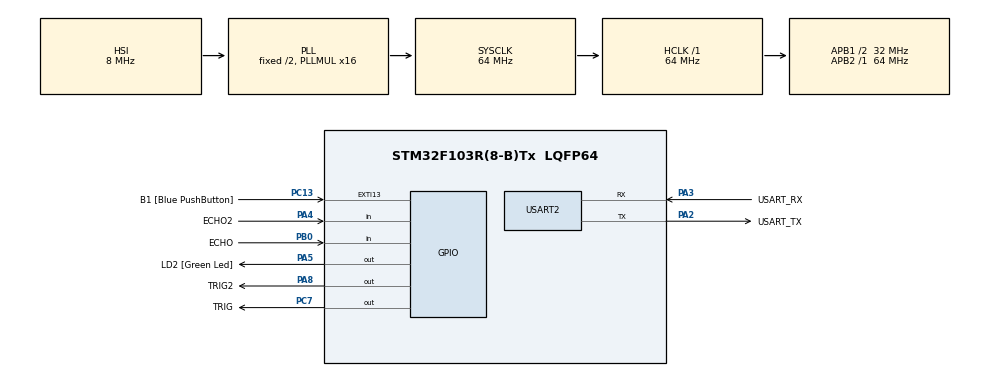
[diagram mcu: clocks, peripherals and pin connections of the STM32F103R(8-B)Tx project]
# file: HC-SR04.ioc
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Mcu.Family=STM32F1
Mcu.Name=STM32F103R(8-B)Tx
Mcu.Package=LQFP64
NVIC.EXTI15_10_IRQn=true\:0\:0\:false\:false\:true\:true\:true\:true
NVIC.PriorityGroup=NVIC_PRIORITYGROUP_4
PA13.GPIO_Label=TMS
PA13.Mode=Serial_Wire
PA13.Signal=SYS_JTMS-SWDIO
PA14.GPIO_Label=TCK
PA14.Mode=Serial_Wire
PA14.Signal=SYS_JTCK-SWCLK
PA2.GPIO_Label=USART_TX
PA2.GPIO_Mode=GPIO_MODE_AF_PP
PA2.GPIO_PuPd=GPIO_NOPULL
PA2.GPIO_Speed=GPIO_SPEED_FREQ_LOW
PA2.Mode=Asynchronous
PA2.Signal=USART2_TX
PA3.GPIO_Label=USART_RX
PA3.GPIO_Mode=GPIO_MODE_AF_PP
PA3.GPIO_PuPd=GPIO_NOPULL
PA3.GPIO_Speed=GPIO_SPEED_FREQ_LOW
PA3.Mode=Asynchronous
PA3.Signal=USART2_RX
PA4.GPIO_Label=ECHO2
PA4.Signal=GPIO_Input
PA5.GPIO_Label=LD2 [Green Led]
PA5.GPIO_ModeDefaultOutputPP=GPIO_MODE_OUTPUT_PP
PA5.GPIO_PuPd=GPIO_NOPULL
PA5.GPIO_Speed=GPIO_SPEED_FREQ_LOW
PA5.Signal=GPIO_Output
PA8.GPIO_Label=TRIG2
PA8.Signal=GPIO_Output
PB0.GPIO_Label=ECHO
PB0.Signal=GPIO_Input
PB3.GPIO_Label=SWO
PB3.Signal=SYS_JTDO-TRACESWO
PC13-TAMPER-RTC.GPIO_Label=B1 [Blue PushButton]
PC13-TAMPER-RTC.GPIO_PuPd=GPIO_NOPULL
PC13-TAMPER-RTC.Signal=GPXTI13
PC14-OSC32_IN.Signal=RCC_OSC32_IN
PC15-OSC32_OUT.Signal=RCC_OSC32_OUT
PC7.GPIO_Label=TRIG
PC7.Signal=GPIO_Output
PD0-OSC_IN.Signal=RCC_OSC_IN
PD1-OSC_OUT.Signal=RCC_OSC_OUT
ProjectManager.HeapSize=0x200
ProjectManager.StackSize=0x400
ProjectManager.TargetToolchain=STM32CubeIDE
RCC.AHBFreq_Value=64000000
RCC.APB1CLKDivider=RCC_HCLK_DIV2
RCC.APB1Freq_Value=32000000
RCC.APB1TimFreq_Value=64000000
RCC.APB2Freq_Value=64000000
RCC.APB2TimFreq_Value=64000000
RCC.HCLKFreq_Value=64000000
RCC.PLLMUL=RCC_PLL_MUL16
RCC.RTCClockSelection=RCC_RTCCLKSOURCE_LSE
RCC.SYSCLKFreq_VALUE=64000000
RCC.SYSCLKSource=RCC_SYSCLKSOURCE_PLLCLK
RCC.USBFreq_Value=64000000
TIM1.Prescaler=64-1
TIM2.Prescaler=64-1
USART2.VirtualMode=VM_ASYNC
VP_TIM1_VS_ClockSourceINT.Mode=Internal
VP_TIM2_VS_ClockSourceINT.Mode=Internal
board=NUCLEO-F103RB

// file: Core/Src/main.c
/* USER CODE BEGIN Header */
/**
  ******************************************************************************
  * @file           : main.c
  * @brief          : Main program body
  ******************************************************************************
  * @attention
  *
  * Copyright (c) 2025 STMicroelectronics.
  * All rights reserved.
  *
  * This software is licensed under terms that can be found in the LICENSE file
  * in the root directory of this software component.
  * If no LICENSE file comes with this software, it is provided AS-IS.
  *
  ******************************************************************************
  */
/* USER CODE END Header */
#include "main.h"

/* USER CODE BEGIN Includes */
#include <stdio.h>
#include <stdlib.h>
/* USER CODE END Includes */

/* USER CODE BEGIN PD */
unsigned int echo_time = 0;
unsigned int echo2_time = 0;
int dist;
int dist2;

/* USER CODE END PD */

TIM_HandleTypeDef htim1;
TIM_HandleTypeDef htim2;

UART_HandleTypeDef huart2;

void SystemClock_Config(void);
static void MX_GPIO_Init(void);
static void MX_USART2_UART_Init(void);
static void MX_TIM1_Init(void);
static void MX_TIM2_Init(void);

/* USER CODE BEGIN 0 */
#ifdef __GNUC__
#define PUTCHAR_PROTOTYPE int __io_putchar(int ch)
#else
#define PUTCHAR_PROTOTYPE int fputc(int ch, FILE *f)
#endif

PUTCHAR_PROTOTYPE
{
	if (ch == '\n')
		HAL_UART_Transmit(&huart2, (uint8_t*) "\r", 1, 0xFFFF);
	HAL_UART_Transmit(&huart2, (uint8_t*) &ch, 1, 0xFFFF);

	return ch;
}

void timer_start(void)
{
	HAL_TIM_Base_Start(&htim1);
}

void delay_us(uint16_t us)
{
	__HAL_TIM_SET_COUNTER(&htim1, 0); // initialize counter to start from 0
	while((__HAL_TIM_GET_COUNTER(&htim1))<us); // wait count until us
}

void trig(void)
{
	HAL_GPIO_WritePin(TRIG_GPIO_Port, TRIG_Pin, 1);
	delay_us(10);
	HAL_GPIO_WritePin(TRIG_GPIO_Port, TRIG_Pin, 0);
}

 /**
  * @brief echo 신호가 HIGH를 유지하는 시간을 (㎲)단위로 측정하여 리턴한다.
  * @param no param(void)
  */

long unsigned int echo(void)
{
	long unsigned int echo = 0;

	while(HAL_GPIO_ReadPin(ECHO_GPIO_Port, ECHO_Pin) == 0){}
		__HAL_TIM_SET_COUNTER(&htim1, 0);
		while(HAL_GPIO_ReadPin(ECHO_GPIO_Port, ECHO_Pin) == 1);
		echo = __HAL_TIM_GET_COUNTER(&htim1);

	if( echo >= 240 && echo <= 23000 ) return echo;
	else return 0;
}

void timer2_start(void)
{
	HAL_TIM_Base_Start(&htim2);
}

void delay2_us(uint16_t us)
{
	__HAL_TIM_SET_COUNTER(&htim2, 0); // initialize counter to start from 0
	while((__HAL_TIM_GET_COUNTER(&htim2))<us); // wait count until us
}

void trig2(void)
{
	HAL_GPIO_WritePin(TRIG2_GPIO_Port, TRIG2_Pin, 1);
	delay2_us(10);
	HAL_GPIO_WritePin(TRIG2_GPIO_Port, TRIG2_Pin, 0);
}

long unsigned int echo2(void)
{
	long unsigned int echo2 = 0;

	while(HAL_GPIO_ReadPin(ECHO2_GPIO_Port, ECHO2_Pin) == 0){}
		__HAL_TIM_SET_COUNTER(&htim2, 0);
		while(HAL_GPIO_ReadPin(ECHO2_GPIO_Port, ECHO2_Pin) == 1);
		echo2 = __HAL_TIM_GET_COUNTER(&htim2);

	if( echo2 >= 240 && echo2 <= 23000 ) return echo2;
	else return 0;
}
/* USER CODE END 0 */

int main(void)
{

  /* MCU Configuration--------------------------------------------------------*/

  /* Reset of all peripherals, Initializes the Flash interface and the Systick. */
  HAL_Init();

  /* Configure the system clock */
  SystemClock_Config();

  /* Initialize all configured peripherals */
  MX_GPIO_Init();
  MX_USART2_UART_Init();
  MX_TIM1_Init();
  MX_TIM2_Init();
  /* USER CODE BEGIN 2 */
  timer_start();
  timer2_start();
  printf("Ranging with HC-SR04\n");

  /* USER CODE END 2 */

  /* Infinite loop */
  /* USER CODE BEGIN WHILE */
  while (1)
  {
	  trig();
	  echo_time = echo();

	  if(echo_time != 0){
		  dist = (int)(17 * echo_time / 100);
		  printf("\n Distance = %d(mm)\n", dist);
	  }
	  else printf("Out of Range!\n");

//	  HAL_Delay(1000);

	  trig2();
	  echo2_time = echo2();
	  if(echo2_time != 0){
		  dist2 = (int)(17 * echo2_time / 100);
		  printf("Distance2 = %d(mm)\n\n", dist2);
	  }
	  else printf("Out of Range2!\n");

//	  HAL_Delay(1000);

    /* USER CODE END WHILE */

  }
}

void SystemClock_Config(void)
{
  RCC_OscInitTypeDef RCC_OscInitStruct = {0};
  RCC_ClkInitTypeDef RCC_ClkInitStruct = {0};

  /** Initializes the RCC Oscillators according to the specified parameters
  * in the RCC_OscInitTypeDef structure.
  */
  RCC_OscInitStruct.OscillatorType = RCC_OSCILLATORTYPE_HSI;
  RCC_OscInitStruct.HSIState = RCC_HSI_ON;
  RCC_OscInitStruct.HSICalibrationValue = RCC_HSICALIBRATION_DEFAULT;
  RCC_OscInitStruct.PLL.PLLState = RCC_PLL_ON;
  RCC_OscInitStruct.PLL.PLLSource = RCC_PLLSOURCE_HSI_DIV2;
  RCC_OscInitStruct.PLL.PLLMUL = RCC_PLL_MUL16;
  if (HAL_RCC_OscConfig(&RCC_OscInitStruct) != HAL_OK)
  {
    Error_Handler();
  }

  /** Initializes the CPU, AHB and APB buses clocks
  */
  RCC_ClkInitStruct.ClockType = RCC_CLOCKTYPE_HCLK|RCC_CLOCKTYPE_SYSCLK
                              |RCC_CLOCKTYPE_PCLK1|RCC_CLOCKTYPE_PCLK2;
  RCC_ClkInitStruct.SYSCLKSource = RCC_SYSCLKSOURCE_PLLCLK;
  RCC_ClkInitStruct.AHBCLKDivider = RCC_SYSCLK_DIV1;
  RCC_ClkInitStruct.APB1CLKDivider = RCC_HCLK_DIV2;
  RCC_ClkInitStruct.APB2CLKDivider = RCC_HCLK_DIV1;

  if (HAL_RCC_ClockConfig(&RCC_ClkInitStruct, FLASH_LATENCY_2) != HAL_OK)
  {
    Error_Handler();
  }
}

static void MX_TIM1_Init(void)
{

  TIM_ClockConfigTypeDef sClockSourceConfig = {0};
  TIM_MasterConfigTypeDef sMasterConfig = {0};

  htim1.Instance = TIM1;
  htim1.Init.Prescaler = 64-1;
  htim1.Init.CounterMode = TIM_COUNTERMODE_UP;
  htim1.Init.Period = 65535;
  htim1.Init.ClockDivision = TIM_CLOCKDIVISION_DIV1;
  htim1.Init.RepetitionCounter = 0;
  htim1.Init.AutoReloadPreload = TIM_AUTORELOAD_PRELOAD_DISABLE;
  if (HAL_TIM_Base_Init(&htim1) != HAL_OK)
  {
    Error_Handler();
  }
  sClockSourceConfig.ClockSource = TIM_CLOCKSOURCE_INTERNAL;
  if (HAL_TIM_ConfigClockSource(&htim1, &sClockSourceConfig) != HAL_OK)
  {
    Error_Handler();
  }
  sMasterConfig.MasterOutputTrigger = TIM_TRGO_RESET;
  sMasterConfig.MasterSlaveMode = TIM_MASTERSLAVEMODE_DISABLE;
  if (HAL_TIMEx_MasterConfigSynchronization(&htim1, &sMasterConfig) != HAL_OK)
  {
    Error_Handler();
  }

}

static void MX_TIM2_Init(void)
{

  TIM_ClockConfigTypeDef sClockSourceConfig = {0};
  TIM_MasterConfigTypeDef sMasterConfig = {0};

  htim2.Instance = TIM2;
  htim2.Init.Prescaler = 64-1;
  htim2.Init.CounterMode = TIM_COUNTERMODE_UP;
  htim2.Init.Period = 65535;
  htim2.Init.ClockDivision = TIM_CLOCKDIVISION_DIV1;
  htim2.Init.AutoReloadPreload = TIM_AUTORELOAD_PRELOAD_DISABLE;
  if (HAL_TIM_Base_Init(&htim2) != HAL_OK)
  {
    Error_Handler();
  }
  sClockSourceConfig.ClockSource = TIM_CLOCKSOURCE_INTERNAL;
  if (HAL_TIM_ConfigClockSource(&htim2, &sClockSourceConfig) != HAL_OK)
  {
    Error_Handler();
  }
  sMasterConfig.MasterOutputTrigger = TIM_TRGO_RESET;
  sMasterConfig.MasterSlaveMode = TIM_MASTERSLAVEMODE_DISABLE;
  if (HAL_TIMEx_MasterConfigSynchronization(&htim2, &sMasterConfig) != HAL_OK)
  {
    Error_Handler();
  }

}

static void MX_USART2_UART_Init(void)
{

  huart2.Instance = USART2;
  huart2.Init.BaudRate = 115200;
  huart2.Init.WordLength = UART_WORDLENGTH_8B;
  huart2.Init.StopBits = UART_STOPBITS_1;
  huart2.Init.Parity = UART_PARITY_NONE;
  huart2.Init.Mode = UART_MODE_TX_RX;
  huart2.Init.HwFlowCtl = UART_HWCONTROL_NONE;
  huart2.Init.OverSampling = UART_OVERSAMPLING_16;
  if (HAL_UART_Init(&huart2) != HAL_OK)
  {
    Error_Handler();
  }

}

static void MX_GPIO_Init(void)
{
  GPIO_InitTypeDef GPIO_InitStruct = {0};

  /* GPIO Ports Clock Enable */
  __HAL_RCC_GPIOC_CLK_ENABLE();
  __HAL_RCC_GPIOD_CLK_ENABLE();
  __HAL_RCC_GPIOA_CLK_ENABLE();
  __HAL_RCC_GPIOB_CLK_ENABLE();

  /*Configure GPIO pin Output Level */
  HAL_GPIO_WritePin(GPIOA, LD2_Pin|TRIG2_Pin, GPIO_PIN_RESET);

  /*Configure GPIO pin Output Level */
  HAL_GPIO_WritePin(TRIG_GPIO_Port, TRIG_Pin, GPIO_PIN_RESET);

  /*Configure GPIO pin : B1_Pin */
  GPIO_InitStruct.Pin = B1_Pin;
  GPIO_InitStruct.Mode = GPIO_MODE_IT_RISING;
  GPIO_InitStruct.Pull = GPIO_NOPULL;
  HAL_GPIO_Init(B1_GPIO_Port, &GPIO_InitStruct);

  /*Configure GPIO pin : ECHO2_Pin */
  GPIO_InitStruct.Pin = ECHO2_Pin;
  GPIO_InitStruct.Mode = GPIO_MODE_INPUT;
  GPIO_InitStruct.Pull = GPIO_NOPULL;
  HAL_GPIO_Init(ECHO2_GPIO_Port, &GPIO_InitStruct);

  /*Configure GPIO pins : LD2_Pin TRIG2_Pin */
  GPIO_InitStruct.Pin = LD2_Pin|TRIG2_Pin;
  GPIO_InitStruct.Mode = GPIO_MODE_OUTPUT_PP;
  GPIO_InitStruct.Pull = GPIO_NOPULL;
  GPIO_InitStruct.Speed = GPIO_SPEED_FREQ_LOW;
  HAL_GPIO_Init(GPIOA, &GPIO_InitStruct);

  /*Configure GPIO pin : ECHO_Pin */
  GPIO_InitStruct.Pin = ECHO_Pin;
  GPIO_InitStruct.Mode = GPIO_MODE_INPUT;
  GPIO_InitStruct.Pull = GPIO_NOPULL;
  HAL_GPIO_Init(ECHO_GPIO_Port, &GPIO_InitStruct);

  /*Configure GPIO pin : TRIG_Pin */
  GPIO_InitStruct.Pin = TRIG_Pin;
  GPIO_InitStruct.Mode = GPIO_MODE_OUTPUT_PP;
  GPIO_InitStruct.Pull = GPIO_NOPULL;
  GPIO_InitStruct.Speed = GPIO_SPEED_FREQ_LOW;
  HAL_GPIO_Init(TRIG_GPIO_Port, &GPIO_InitStruct);

  /* EXTI interrupt init*/
  HAL_NVIC_SetPriority(EXTI15_10_IRQn, 0, 0);
  HAL_NVIC_EnableIRQ(EXTI15_10_IRQn);

}

void Error_Handler(void)
{
  __disable_irq();
  while (1)
  {
  }
}
